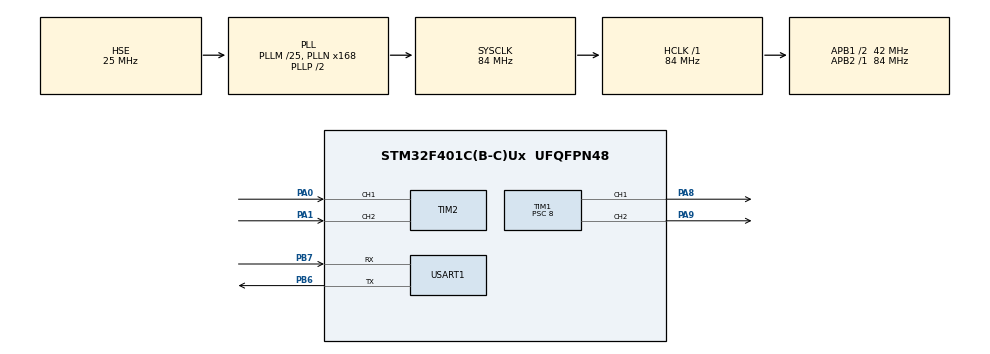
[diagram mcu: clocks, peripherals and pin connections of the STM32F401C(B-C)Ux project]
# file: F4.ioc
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Mcu.Family=STM32F4
Mcu.Name=STM32F401C(B-C)Ux
Mcu.Package=UFQFPN48
NVIC.PriorityGroup=NVIC_PRIORITYGROUP_4
NVIC.TIM1_BRK_TIM9_IRQn=true\:2\:0\:true\:false\:true\:true\:true\:true
NVIC.TIM2_IRQn=true\:0\:0\:false\:false\:true\:true\:true\:true
NVIC.TIM3_IRQn=true\:1\:0\:true\:false\:true\:true\:true\:true
PA0-WKUP.GPIO_PuPd=GPIO_PULLUP
PA0-WKUP.GPIO_Speed=GPIO_SPEED_FREQ_VERY_HIGH
PA0-WKUP.Signal=S_TIM2_CH1_ETR
PA1.GPIO_PuPd=GPIO_PULLUP
PA1.GPIO_Speed=GPIO_SPEED_FREQ_VERY_HIGH
PA1.Signal=S_TIM2_CH2
PA13.Mode=Serial_Wire
PA13.Signal=SYS_JTMS-SWDIO
PA14.Mode=Serial_Wire
PA14.Signal=SYS_JTCK-SWCLK
PA8.GPIO_PuPd=GPIO_PULLUP
PA8.GPIO_Speed=GPIO_SPEED_FREQ_VERY_HIGH
PA8.Signal=S_TIM1_CH1
PA9.GPIO_PuPd=GPIO_PULLUP
PA9.GPIO_Speed=GPIO_SPEED_FREQ_VERY_HIGH
PA9.Signal=S_TIM1_CH2
PB6.Mode=Asynchronous
PB6.Signal=USART1_TX
PB7.Mode=Asynchronous
PB7.Signal=USART1_RX
PH0\ -\ OSC_IN.Mode=HSE-External-Oscillator
PH0\ -\ OSC_IN.Signal=RCC_OSC_IN
PH1\ -\ OSC_OUT.Mode=HSE-External-Oscillator
PH1\ -\ OSC_OUT.Signal=RCC_OSC_OUT
ProjectManager.HeapSize=0x200
ProjectManager.StackSize=0x400
ProjectManager.TargetToolchain=MDK-ARM V5.32
RCC.48MHZClocksFreq_Value=42000000
RCC.AHBFreq_Value=84000000
RCC.APB1CLKDivider=RCC_HCLK_DIV2
RCC.APB1Freq_Value=42000000
RCC.APB1TimFreq_Value=84000000
RCC.APB2Freq_Value=84000000
RCC.APB2TimFreq_Value=84000000
RCC.CortexFreq_Value=84000000
RCC.HCLKFreq_Value=84000000
RCC.HSE_VALUE=25000000
RCC.HSI_VALUE=16000000
RCC.LSE_VALUE=32768
RCC.PLLM=25
RCC.PLLN=168
RCC.PLLSourceVirtual=RCC_PLLSOURCE_HSE
RCC.SYSCLKFreq_VALUE=84000000
RCC.SYSCLKSource=RCC_SYSCLKSOURCE_PLLCLK
RCC.VCOOutputFreq_Value=168000000
SH.S_TIM1_CH1.0=TIM1_CH1,PWM Generation1 CH1
SH.S_TIM1_CH2.0=TIM1_CH2,PWM Generation2 CH2
SH.S_TIM2_CH1_ETR.0=TIM2_CH1,Encoder_Interface
SH.S_TIM2_CH2.0=TIM2_CH2,Encoder_Interface
TIM1.Channel-PWM\ Generation1\ CH1=TIM_CHANNEL_1
TIM1.Channel-PWM\ Generation2\ CH2=TIM_CHANNEL_2
TIM1.Period=5000
TIM1.Prescaler=8
TIM2.EncoderMode=TIM_ENCODERMODE_TI12
TIM3.Period=10000
TIM3.Prescaler=84-1
TIM9.AutoReloadPreload=TIM_AUTORELOAD_PRELOAD_ENABLE
TIM9.Prescaler=84-1
USART1.VirtualMode=VM_ASYNC
VP_TIM1_VS_ClockSourceINT.Mode=Internal
VP_TIM3_VS_ClockSourceINT.Mode=Internal
VP_TIM9_VS_ClockSourceINT.Mode=Internal
board=custom

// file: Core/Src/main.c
/* USER CODE BEGIN Header */
/**
 ******************************************************************************
 * @file           : main.c
 * @brief          : Main program body
 ******************************************************************************
 * @attention
 *
 * Copyright (c) 2022 STMicroelectronics.
 * All rights reserved.
 *
 * This software is licensed under terms that can be found in the LICENSE file
 * in the root directory of this software component.
 * If no LICENSE file comes with this software, it is provided AS-IS.
 *
 ******************************************************************************
 */
/* USER CODE END Header */
#include "main.h"
#include "tim.h"
#include "usart.h"
#include "gpio.h"

/* USER CODE BEGIN Includes */
#include "Delay.h"
#include "Print.h"
/* USER CODE END Includes */

void SystemClock_Config(void);
/* USER CODE BEGIN PFP */
typedef struct __PID_Increment_Struct
{
    float Kp, Ki, Kd;  //系数
    float Error_Last1; //上次误差
    float Error_Last2; //上次误差
    float Out_Last;    //上次输出
} PID_Increment_Struct;
/* USER CODE END PFP */

/* USER CODE BEGIN 0 */
#define Motor_TIM_Handle htim1
#define Motor_TIM_Channel1 TIM_CHANNEL_1
#define Motor_TIM_Channel2 TIM_CHANNEL_2
#define Motor_MAX_Duty 5000
#define Encoder_TIM_Handle htim2
PID_Increment_Struct PID_Speed = {80, 5};
PID_Increment_Struct PID_Angle = {3, 0, 0};
float Get_Speed()
{
    int16_t zj;
    float Speed = 0;
    zj = __HAL_TIM_GetCounter(&Encoder_TIM_Handle);
    __HAL_TIM_SetCounter(&Encoder_TIM_Handle, 0);
    Speed = (float)zj / (4 * 15 * 34) * 100 * 60;

    return Speed;
}
float Get_Angle()
{
    int16_t zj;
    float angle = 0;
    zj = __HAL_TIM_GetCounter(&Encoder_TIM_Handle);
    angle = (float)zj / (4 * 15 * 34) * 360;
    return angle;
}
float PID_Increment(PID_Increment_Struct *PID, float Current, float Target)
{
    float err,                                                                                                       //误差
        out,                                                                                                         //输出
        proportion,                                                                                                  //比例
        differential;                                                                                                //微分
    err = (float)Target - (float)Current;                                                                            //计算误差
    proportion = (float)err - (float)PID->Error_Last1;                                                               //计算比例项
    differential = (float)err - 2 * (float)PID->Error_Last1 + (float)PID->Error_Last2;                               //计算微分项
    out = (float)PID->Out_Last + (float)PID->Kp * proportion + (float)PID->Ki * err + (float)PID->Kd * differential; //计算PID
    PID->Error_Last2 = PID->Error_Last1;                                                                             //更新上上次误差
    PID->Error_Last1 = err;                                                                                          //更新误差
    PID->Out_Last = out;                                                                                             //更新上此输出
    return out;
}
void motor(int16_t Speed)
{
    if (Speed == 0)
    {
        __HAL_TIM_SET_COMPARE(&Motor_TIM_Handle, Motor_TIM_Channel1, Motor_MAX_Duty + 1);
        __HAL_TIM_SET_COMPARE(&Motor_TIM_Handle, Motor_TIM_Channel2, Motor_MAX_Duty + 1);
    }
    else if (Speed > 0)
    {
        __HAL_TIM_SET_COMPARE(&Motor_TIM_Handle, Motor_TIM_Channel1, Speed);
        __HAL_TIM_SET_COMPARE(&Motor_TIM_Handle, Motor_TIM_Channel2, 0);
    }
    else if (Speed < 0)
    {
        Speed *= -1;
        __HAL_TIM_SET_COMPARE(&Motor_TIM_Handle, TIM_CHANNEL_1, 0);
        __HAL_TIM_SET_COMPARE(&Motor_TIM_Handle, TIM_CHANNEL_2, Speed);
    }
}

float angle;
float mb_speed_last;
int aa = 0;
void HAL_TIM_PeriodElapsedCallback(TIM_HandleTypeDef *htim)
{
    float Speed = 0;
    int16_t set_speed = 0;
    float mb_speed;
    if (htim == &htim2)
    {
    }
    else if (htim == &htim3)
    {
        angle += Get_Angle();
        Speed = Get_Speed();
        mb_speed = (int16_t)PID_Increment(&PID_Angle, angle, aa);

        if (PID_Angle.Error_Last1 > 360)
            mb_speed = 300;
        else if (PID_Angle.Error_Last1 < -360)
            mb_speed = -300;
        set_speed = PID_Increment(&PID_Speed, Speed, mb_speed);

        if (set_speed > 5000)
            set_speed = 5000;
        else if (set_speed < -5000)
            set_speed = -5000;

        motor(set_speed);
        // printf("%f,%f\r\n", Speed, mb_speed);
        Speed = aa;
        printf("%f,%f\r\n", angle, Speed);
    }
}

/* USER CODE END 0 */

int main(void)
{

    /* MCU Configuration--------------------------------------------------------*/

    /* Reset of all peripherals, Initializes the Flash interface and the Systick. */
    HAL_Init();

    /* Configure the system clock */
    SystemClock_Config();

    /* Initialize all configured peripherals */
    MX_GPIO_Init();
    MX_USART1_UART_Init();
    MX_TIM9_Init();
    MX_TIM1_Init();
    MX_TIM2_Init();
    MX_TIM3_Init();
    /* USER CODE BEGIN 2 */
    HAL_TIM_PWM_Start(&htim1, TIM_CHANNEL_1);
    HAL_TIM_PWM_Start(&htim1, TIM_CHANNEL_2);

    /* USER CODE END 2 */

    /* Infinite loop */
    while (1)
    {

        /* USER CODE BEGIN 3 */
        aa = 90;
        HAL_Delay(2000);
        aa = -90;
        HAL_Delay(2000);
        // aa = -1000;
        // HAL_Delay(2000);
        // motor(-5000);
        // HAL_Delay(2000);
        // motor(3000);
        // HAL_Delay(2000);
    }
    /* USER CODE END 3 */
}

void SystemClock_Config(void)
{
    RCC_OscInitTypeDef RCC_OscInitStruct = {0};
    RCC_ClkInitTypeDef RCC_ClkInitStruct = {0};

    /** Configure the main internal regulator output voltage
     */
    __HAL_RCC_PWR_CLK_ENABLE();
    __HAL_PWR_VOLTAGESCALING_CONFIG(PWR_REGULATOR_VOLTAGE_SCALE2);

    /** Initializes the RCC Oscillators according to the specified parameters
     * in the RCC_OscInitTypeDef structure.
     */
    RCC_OscInitStruct.OscillatorType = RCC_OSCILLATORTYPE_HSE;
    RCC_OscInitStruct.HSEState = RCC_HSE_ON;
    RCC_OscInitStruct.PLL.PLLState = RCC_PLL_ON;
    RCC_OscInitStruct.PLL.PLLSource = RCC_PLLSOURCE_HSE;
    RCC_OscInitStruct.PLL.PLLM = 25;
    RCC_OscInitStruct.PLL.PLLN = 168;
    RCC_OscInitStruct.PLL.PLLP = RCC_PLLP_DIV2;
    RCC_OscInitStruct.PLL.PLLQ = 4;
    if (HAL_RCC_OscConfig(&RCC_OscInitStruct) != HAL_OK)
    {
        Error_Handler();
    }

    /** Initializes the CPU, AHB and APB buses clocks
     */
    RCC_ClkInitStruct.ClockType = RCC_CLOCKTYPE_HCLK | RCC_CLOCKTYPE_SYSCLK | RCC_CLOCKTYPE_PCLK1 | RCC_CLOCKTYPE_PCLK2;
    RCC_ClkInitStruct.SYSCLKSource = RCC_SYSCLKSOURCE_PLLCLK;
    RCC_ClkInitStruct.AHBCLKDivider = RCC_SYSCLK_DIV1;
    RCC_ClkInitStruct.APB1CLKDivider = RCC_HCLK_DIV2;
    RCC_ClkInitStruct.APB2CLKDivider = RCC_HCLK_DIV1;

    if (HAL_RCC_ClockConfig(&RCC_ClkInitStruct, FLASH_LATENCY_2) != HAL_OK)
    {
        Error_Handler();
    }
}

void Error_Handler(void)
{
    __disable_irq();
    while (1)
    {
    }
}
